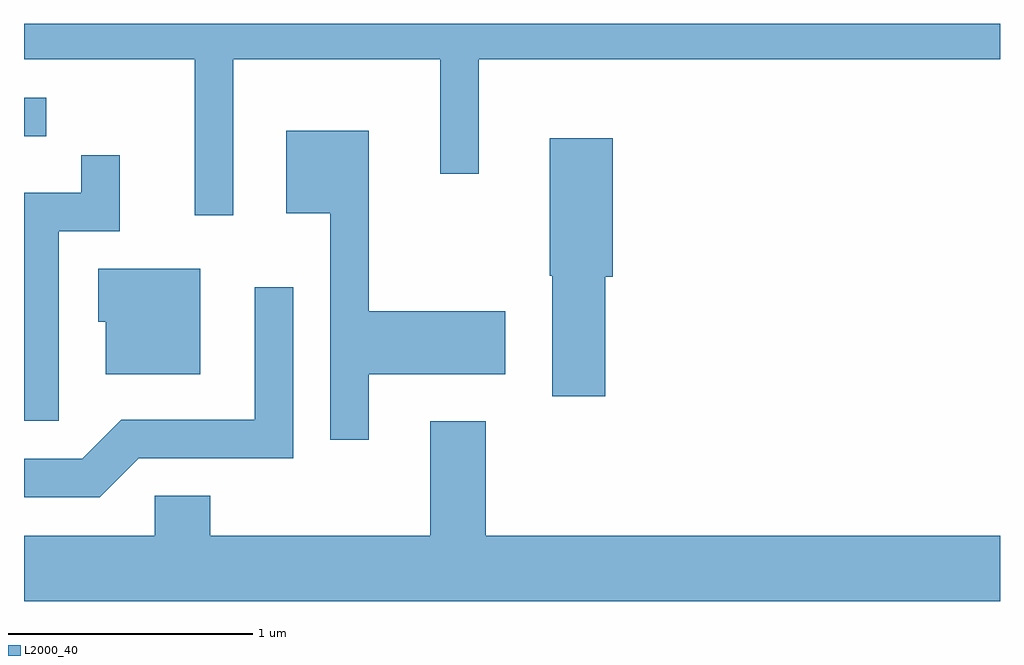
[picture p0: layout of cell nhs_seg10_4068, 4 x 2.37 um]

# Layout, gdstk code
import gdstk
lib = gdstk.Library(unit=1e-6, precision=1e-09)
def R(c, l, rs):  # rectangles x0, y0, x1, y1
    for r in rs: c.add(gdstk.rectangle(r[:2], r[2:], *l))
def P(c, l, *ps):  # polygons
    for p in ps: c.add(gdstk.Polygon(p, *l))
L2000_40 = (2000, 40)

nhs_seg10_4068 = lib.new_cell('nhs_seg10_4068')
R(nhs_seg10_4068, L2000_40, [(305.611,2098.061,305.703,2098.219)])
P(nhs_seg10_4068, L2000_40, [(306.469,2098.376),(307.316,2098.376),(307.316,2097.908),(307.474,2097.908),(307.474,2098.376),(309.611,2098.376),(309.611,2098.522),(305.611,2098.522),(305.611,2098.376),(306.311,2098.376),(306.311,2097.738),(306.469,2097.738)],
  [(307.024,2097.086),(307.584,2097.086),(307.584,2097.344),(307.024,2097.344),(307.024,2098.084),(306.686,2098.084),(306.686,2097.746),(306.866,2097.746),(306.866,2096.818),(307.024,2096.818)],
  [(307.994,2097.486),(308.024,2097.486),(308.024,2098.054),(307.766,2098.054),(307.766,2097.49),(307.776,2097.49),(307.776,2096.996),(307.994,2096.996)],
  [(305.754,2097.671),(306.004,2097.671),(306.004,2097.983),(305.846,2097.983),(305.846,2097.829),(305.611,2097.829),(305.611,2096.896),(305.754,2096.896)],
  [(306.334,2097.519),(305.916,2097.519),(305.916,2097.301),(305.946,2097.301),(305.946,2097.086),(306.334,2097.086)],
  [(306.082,2096.741),(306.714,2096.741),(306.714,2097.443),(306.556,2097.443),(306.556,2096.899),(306.009,2096.899),(305.849,2096.739),(305.611,2096.739),(305.611,2096.581),(305.922,2096.581)],
  [(309.611,2096.424),(307.504,2096.424),(307.504,2096.894),(307.276,2096.894),(307.276,2096.424),(306.374,2096.424),(306.374,2096.589),(306.146,2096.589),(306.146,2096.424),(305.611,2096.424),(305.611,2096.156),(309.611,2096.156)])

lib.write_gds('nhs_seg10_4068.gds')
